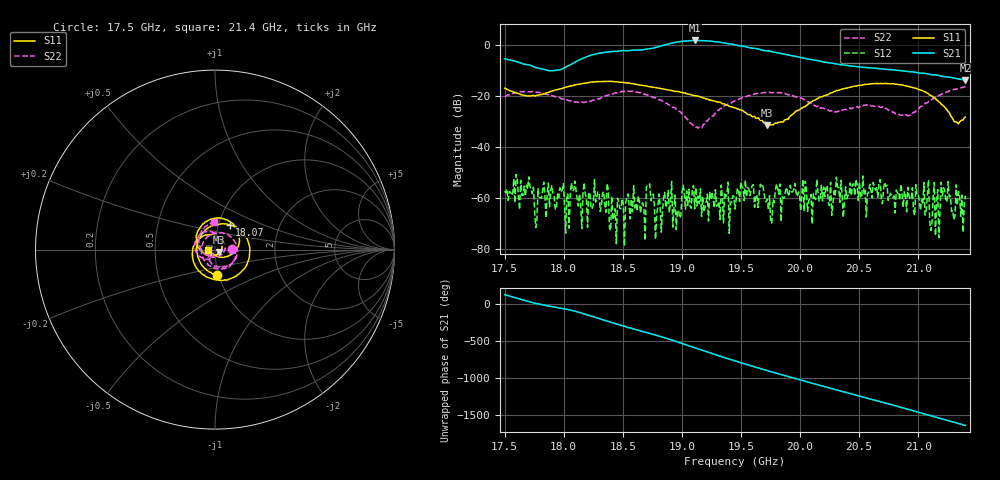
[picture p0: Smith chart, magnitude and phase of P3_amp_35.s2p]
!Created with skrf (http://scikit-rf.org).
# GHz S RI R 50.0
!freq ReS11 ImS11 ReS21 ImS21 ReS12 ImS12 ReS22 ImS22
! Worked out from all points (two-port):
!   401 points, 17.5 GHz to 21.4 GHz, reference 50 ohm
!   highest |S21| = 1.89 dB at 19.11 GHz (marker M1); lowest = -13.6 dB at 21.4 GHz (marker M2)
!   |S21| within 3 dB of the highest: 18.76 GHz to 19.59 GHz (831.4 MHz wide, 4.34 % of centre)
!   lowest |S11| = -31.4 dB at 19.72 GHz (marker M3), VSWR 1.06, Z = 52.3 - j1.43 ohm
!   |S11| at or under -10 dB: start of sweep to end of sweep
!   |S22| runs from -32.5 to -16.2 dB; largest |S21 - S12| = 1.2
!   S11 on the Smith chart (normalised r, x): 17.5 GHz: 0.98, -0.29; 18.07 GHz: 1.13, +0.32; 21.4 GHz: 0.92, -0.00
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17.5  0.00939 -0.1433  -0.346 0.4161  -0.00128 -0.000522  0.0971 0.00146
17.72425  -0.1006 0.00148  0.3608 0.1726  -0.0012 0.000925  0.0854 -0.0866
17.773  -0.097 0.0391  0.3586 0.0447  0.000317 0.000158  0.0639 -0.1019
18.0655  0.0822 0.1395  0.0387 -0.4251  0.00185 -0.000798  -0.0723 -0.038
18.15325  0.1407 0.1045  -0.2982 -0.4563  0.000225 0.000118  -0.0745 0.0186
18.30925  0.1931 -0.0128  -0.6577 0.2591  -0.000306 -0.000453  0.0042 0.0899
18.475  0.1256 -0.1401  0.1709 0.7545  -0.00046 -0.00044  0.1158 0.0348
18.64075  -0.00575 -0.1664  0.8032 -0.0126  -0.000488 -0.00072  0.0796 -0.0859
18.8065  -0.1055 -0.0969  0.2559 -0.9158  0.000562 -0.00108  -0.00907 -0.0845
18.99175  -0.1177 0.0219  -1.166 -0.2244  -0.000418 -0.000171  -0.0352 -0.0332
19.10875  -0.0749 0.0699  -0.7538 0.9888  -0.000499 0.000367  -0.0177 -0.0182
19.1965  -0.0378 0.0824  0.215 1.209  0.000425 0.000511  -0.00932 -0.0274
19.294  -0.000916 0.0783  1.033 0.5547  0.000701 -7.17e-05  -0.0181 -0.0454
19.45  0.0338 0.0488  0.6278 -0.8094  0.000558 -0.000257  -0.0653 -0.0505
19.55725  0.0386 0.0218  -0.2346 -0.8871  0.00158 -0.000348  -0.0991 -0.0241
19.723  0.0231 -0.0136  -0.7743 0.0333  0.000171 -0.000936  -0.1064 0.0538
19.8985  -0.0163 -0.0311  -0.0629 0.6421  -5.92e-05 -0.0011  -0.0407 0.0994
20.10325  -0.0787 -0.0057  0.5187 0.0323  -0.000266 0.000163  0.0135 0.0684
20.4835  -0.059 0.1487  -0.3589 -0.1319  -0.00104 0.00156  0.025 0.0575
20.7565  0.085 0.1551  0.0508 0.3312  0.00085 0.000674  0.0527 -0.00493
21.09775  0.1049 -0.0132  0.0798 -0.2564  0.000356 -4.59e-05  -0.0798 0.00733
21.4  -0.0391 -0.00148  -0.1824 0.0996  -0.00106 0.000398  -0.00806 0.1549
